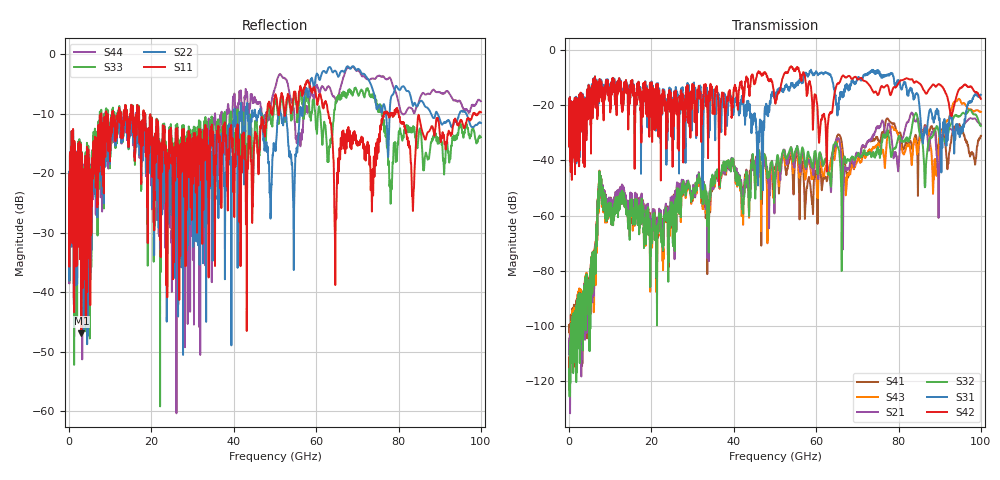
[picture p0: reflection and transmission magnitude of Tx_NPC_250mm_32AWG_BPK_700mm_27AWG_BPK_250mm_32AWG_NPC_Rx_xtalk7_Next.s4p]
! Info: Touchstone file created by Circ.  Input file=Tx_NPC_250mm_32AWG_BPK_700mm_27AWG_BPK_250mm_32AWG_NPC_Rx.circ
# Hz S RI R 50
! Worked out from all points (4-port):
!   10000 points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, 10 MHz to 100 GHz, reference 50 ohm
!   strongest paths, dB at 10 MHz, 25.01 GHz, 50.01 GHz, 75.01 GHz, 100 GHz:
!     S42: -28.4, -18.5, -18.4, -16.3, -17.6
!     S31: -28.4, -17.2, -16.1, -7.5, -16.2
!     S32: -115.7, -55.4, -47.0, -35.1, -27.5
!     S21: -104.5, -53.2, -51.1, -28.3, -26.9
!     S43: -123.0, -55.4, -44.2, -33.7, -22.4
!     S41: -99.9, -53.5, -42.2, -32.6, -31.0
!   lowest |S11| = -46.9 dB at 2.98 GHz (marker M1), VSWR 1.01, Z = 50.4 - j0.0978 ohm
!   |S11| at or under -10 dB: 18.4 GHz to 47.99 GHz (29.59 GHz wide, 89.1 % of centre); 62.97 GHz to 76.45 GHz (13.47 GHz wide, 19.3 % of centre); 80.04 GHz to 98.12 GHz (18.08 GHz wide, 20.3 % of centre) (the widest 3 of 48)
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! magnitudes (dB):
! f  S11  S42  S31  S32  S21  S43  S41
! 10 MHz  -23.8  -28.4  -28.4  -115.7  -104.5  -123.0  -99.9
! 2.98 GHz  -46.9  -28.7  -28.9  -96.6  -104.0  -103.5  -106.2
! 7.7 GHz  -13.0  -15.0  -14.0  -45.9  -45.8  -46.1  -45.9
! 21.3 GHz  -11.9  -18.5  -16.9  -80.6  -72.9  -75.1  -69.9
! 38.32 GHz  -22.2  -18.3  -24.3  -40.5  -40.9  -41.1  -41.7
! 88.76 GHz  -13.7  -12.8  -24.3  -29.3  -29.2  -39.6  -28.4
! 100 GHz  -9.8  -17.6  -16.2  -27.5  -26.9  -22.4  -31.0
